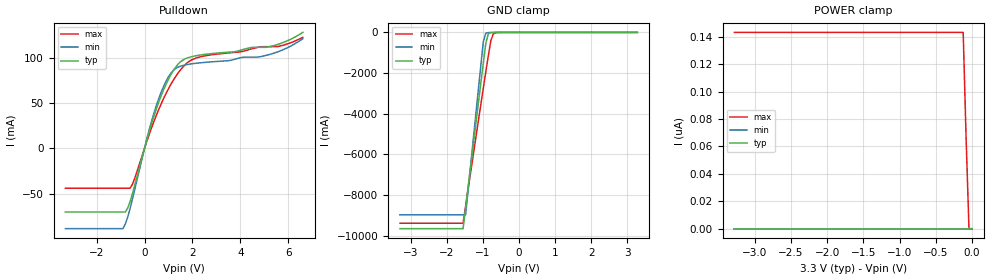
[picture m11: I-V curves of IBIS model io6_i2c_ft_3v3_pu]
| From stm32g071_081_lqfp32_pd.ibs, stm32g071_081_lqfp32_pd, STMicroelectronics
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|   Model io6_i2c_ft_3v3_pu
[Model]  io6_i2c_ft_3v3_pu
Model_type I/O_open_drain
Polarity   Non-Inverting
Enable   Active-High
Vinl =   0.990000V
Vinh =   2.310000V
Vmeas =  1.650000V
Cref =   30.000000pF
Rref =   100.000000
Vref =   3.600000V
C_comp   2.033100pF   1.980600pF   2.082100pF
[Temperature Range]   25.000000   -40.000000   0.125000k
[Pullup Reference]   3.300000V   3.000000V   3.600000V
[Pulldown Reference]   0.0V   0.0V   0.0V
[POWER Clamp Reference]   3.300000V   3.000000V   3.600000V
[GND Clamp Reference]   0.0V   0.0V   0.0V
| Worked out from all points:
|   slope of the pulldown table from 0 to 0.495 V, typ, clamps not added: 11.3 ohm
|   GND clamp passes 1 mA (typ) near -0.58 V on its own axis
[Pulldown]
|Voltage   I(typ)   I(min)   I(max)
-3.3V     -70.27mA   -88.65mA   -44.08mA
-900mV    -70.27mA   -88.65mA   -44.08mA
-700mV    -65.95mA   -75.82mA   -44.08mA
-500mV    -49.7mA    -55.58mA   -39.5mA
100mV     9.675mA    10.77mA    7.896mA
500mV     43.99mA    47.64mA    36.77mA
900mV     70.68mA    73.95mA    60.53mA
1.3V      89.44mA    87.92mA    79.12mA
1.7V      98.61mA    91.85mA    92.24mA
2.2V      102.2mA    93.82mA    99.84mA
5V        111.2mA    101.9mA    111.9mA
6.6V      127.7mA    120.7mA    122.2mA
[GND_clamp]
|Voltage   I(typ)   I(min)   I(max)
-3.3V     -9.654A    -8.974A    -9.386A
-1.55V    -9.654A    -8.974A    -9.386A
-1.48V    -8.632A    -8.974A    -8.549A
-990mV    -1.519A    -464.6mA   -2.752A
-920mV    -535.3mA   -33.4mA    -1.941A
-850mV    -61.84mA   -8.927mA   -1.147A
-780mV    -11.5mA    -4.931mA   -400.9mA
-710mV    -4.633mA   -2.361mA   -72.05mA
-640mV    -2.18mA    -760.8uA   -15.81mA
3.28V     0A         0A         0A
[POWER_clamp]
|Voltage   I(typ)   I(min)   I(max)
-3.28V    0A         0A         143.3nA
-120mV    0A         0A         143.3nA
-80mV     0A         0A         66.35nA
-40mV     0A         0A         0A
0V        0A         0A         0A
[Ramp]
| variable   typ   min   max
dV/dt_r  1.60387/0.70880n   1.48558/0.61188n   1.67386/0.71392n
dV/dt_f  1.60387/1.86387n   1.48558/1.90055n   1.67386/2.07946n
R_load = 50.000000
|End [Model] io6_i2c_ft_3v3_pu
